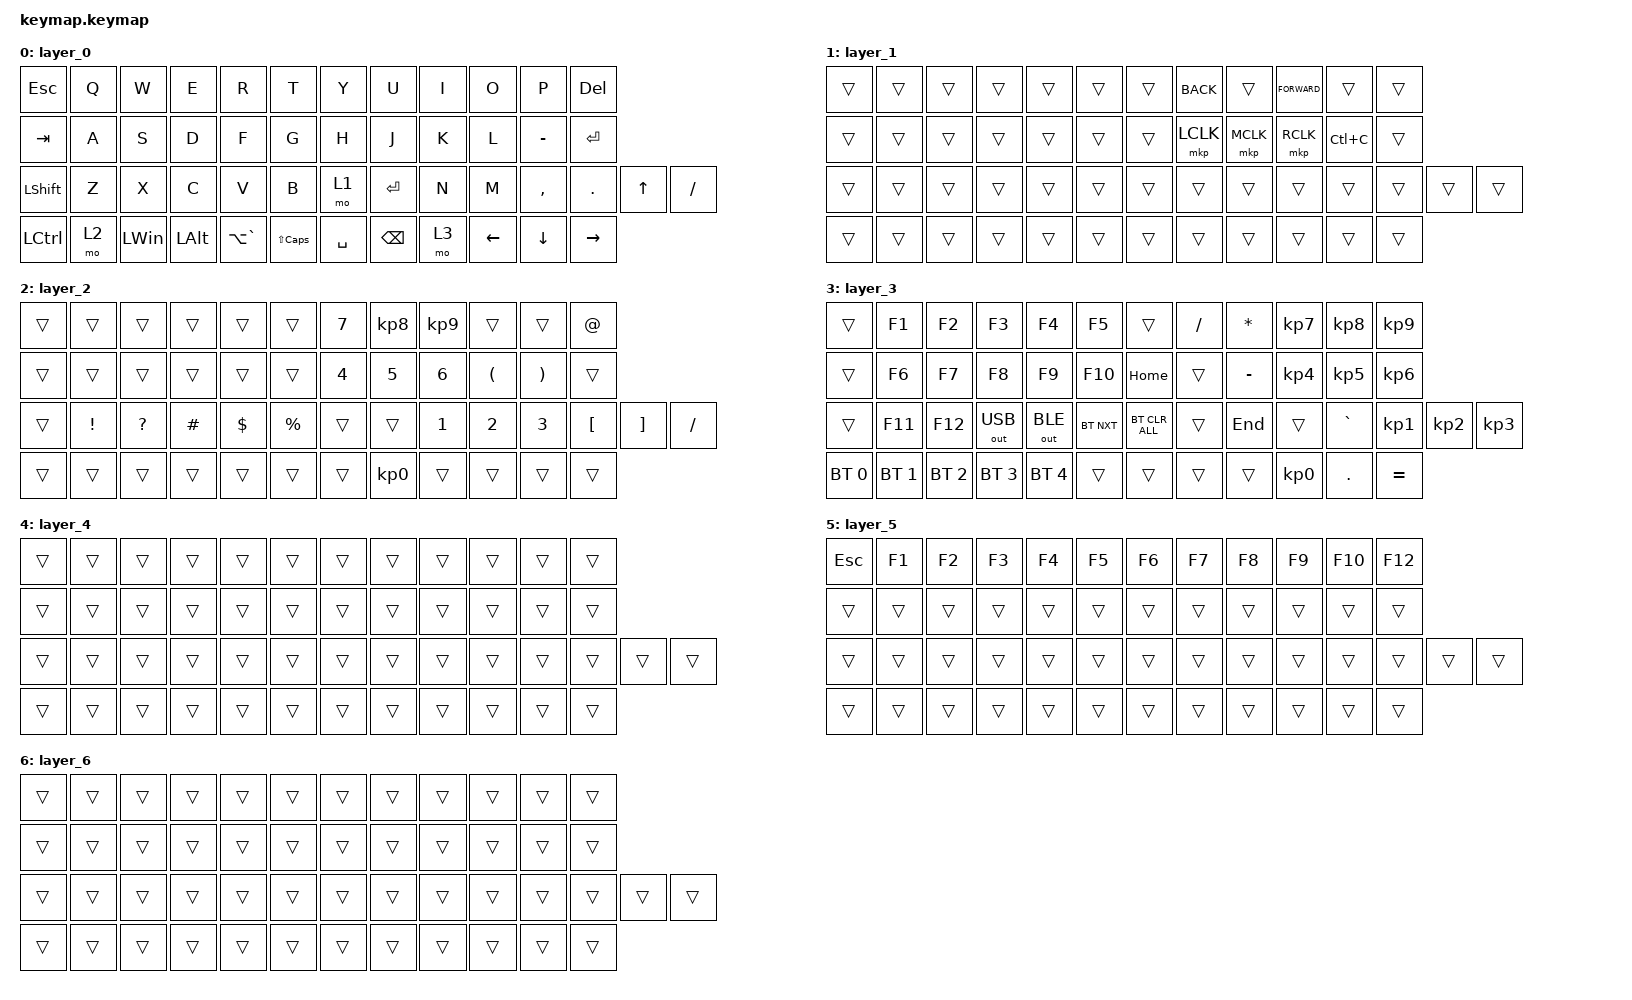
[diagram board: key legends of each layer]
#include <behaviors.dtsi>
#include <dt-bindings/zmk/bt.h>
#include <dt-bindings/zmk/keys.h>
#include <dt-bindings/zmk/outputs.h>
#include <dt-bindings/zmk/pointing.h>

/ {
    combos {
        compatible = "zmk,combos";

        bt_clear {
            bindings = <&bt BT_CLR>;
            key-positions = <28 29>;
            layers = <2>;
        };
    };

    keymap {
        compatible = "zmk,keymap";

        layer_0 {
            bindings = <
&kp ESCAPE        &kp Q  &kp W         &kp E     &kp R          &kp T             &kp Y      &kp U          &kp I  &kp O           &kp P           &kp DELETE
&kp TAB           &kp A  &kp S         &kp D     &kp F          &kp G             &kp H      &kp J          &kp K  &kp L           &kp MINUS       &kp ENTER
&kp LSHFT         &kp Z  &kp X         &kp C     &kp V          &kp B             &mo 1      &kp ENTER      &kp N  &kp M           &kp COMMA       &kp DOT          &kp UP_ARROW  &kp SLASH
&kp LEFT_CONTROL  &mo 2  &kp LEFT_WIN  &kp LALT  &kp LA(GRAVE)  &kp LS(CAPSLOCK)  &kp SPACE  &kp BACKSPACE  &mo 3  &kp LEFT_ARROW  &kp DOWN_ARROW  &kp RIGHT_ARROW
            >;
        };

        layer_1 {
            bindings = <
&trans  &trans  &trans  &trans  &trans  &trans  &trans  &kp K_BACK  &trans     &kp K_FORWARD  &trans     &trans
&trans  &trans  &trans  &trans  &trans  &trans  &trans  &mkp LCLK   &mkp MCLK  &mkp RCLK      &kp LC(C)  &trans
&trans  &trans  &trans  &trans  &trans  &trans  &trans  &trans      &trans     &trans         &trans     &trans  &trans  &trans
&trans  &trans  &trans  &trans  &trans  &trans  &trans  &trans      &trans     &trans         &trans     &trans
            >;
        };

        layer_2 {
            bindings = <
&trans  &trans           &trans        &trans    &trans      &trans       &kp N7        &kp KP_NUMBER_8  &kp KP_NUMBER_9  &trans                &trans                 &kp AT_SIGN
&trans  &trans           &trans        &trans    &trans      &trans       &kp NUMBER_4  &kp N5           &kp NUMBER_6     &kp LEFT_PARENTHESIS  &kp RIGHT_PARENTHESIS  &trans
&trans  &kp EXCLAMATION  &kp QUESTION  &kp HASH  &kp DOLLAR  &kp PERCENT  &trans        &trans           &kp NUMBER_1     &kp NUMBER_2          &kp NUMBER_3           &kp LEFT_BRACKET  &kp RIGHT_BRACKET  &kp SLASH
&trans  &trans           &trans        &trans    &trans      &trans       &trans        &kp KP_NUMBER_0  &trans           &trans                &trans                 &trans
            >;
        };

        layer_3 {
            bindings = <
&trans        &kp F1        &kp F2        &kp F3        &kp F4        &kp F5      &trans          &kp FSLH  &kp ASTRK  &kp KP_NUMBER_7  &kp KP_NUMBER_8  &kp KP_NUMBER_9
&trans        &kp F6        &kp F7        &kp F8        &kp F9        &kp F10     &kp HOME        &trans    &kp MINUS  &kp KP_NUMBER_4  &kp KP_NUMBER_5  &kp KP_NUMBER_6
&trans        &kp F11       &kp F12       &out OUT_USB  &out OUT_BLE  &bt BT_NXT  &bt BT_CLR_ALL  &trans    &kp END    &trans           &kp GRAVE        &kp KP_NUMBER_1  &kp KP_NUMBER_2  &kp KP_NUMBER_3
&bt BT_SEL 0  &bt BT_SEL 1  &bt BT_SEL 2  &bt BT_SEL 3  &bt BT_SEL 4  &trans      &trans          &trans    &trans     &kp KP_NUMBER_0  &kp DOT          &kp EQUAL
            >;
        };

        layer_4 {
            bindings = <
&trans  &trans  &trans  &trans  &trans  &trans  &trans  &trans  &trans  &trans  &trans  &trans
&trans  &trans  &trans  &trans  &trans  &trans  &trans  &trans  &trans  &trans  &trans  &trans
&trans  &trans  &trans  &trans  &trans  &trans  &trans  &trans  &trans  &trans  &trans  &trans  &trans  &trans
&trans  &trans  &trans  &trans  &trans  &trans  &trans  &trans  &trans  &trans  &trans  &trans
            >;
        };

        layer_5 {
            bindings = <
&kp ESC  &kp F1  &kp F2  &kp F3  &kp F4  &kp F5  &kp F6  &kp F7  &kp F8  &kp F9  &kp F10  &kp F12
&trans   &trans  &trans  &trans  &trans  &trans  &trans  &trans  &trans  &trans  &trans   &trans
&trans   &trans  &trans  &trans  &trans  &trans  &trans  &trans  &trans  &trans  &trans   &trans   &trans  &trans
&trans   &trans  &trans  &trans  &trans  &trans  &trans  &trans  &trans  &trans  &trans   &trans
            >;
        };

        layer_6 {
            bindings = <
&trans  &trans  &trans  &trans  &trans  &trans  &trans  &trans  &trans  &trans  &trans  &trans
&trans  &trans  &trans  &trans  &trans  &trans  &trans  &trans  &trans  &trans  &trans  &trans
&trans  &trans  &trans  &trans  &trans  &trans  &trans  &trans  &trans  &trans  &trans  &trans  &trans  &trans
&trans  &trans  &trans  &trans  &trans  &trans  &trans  &trans  &trans  &trans  &trans  &trans
            >;
        };
    };
};
